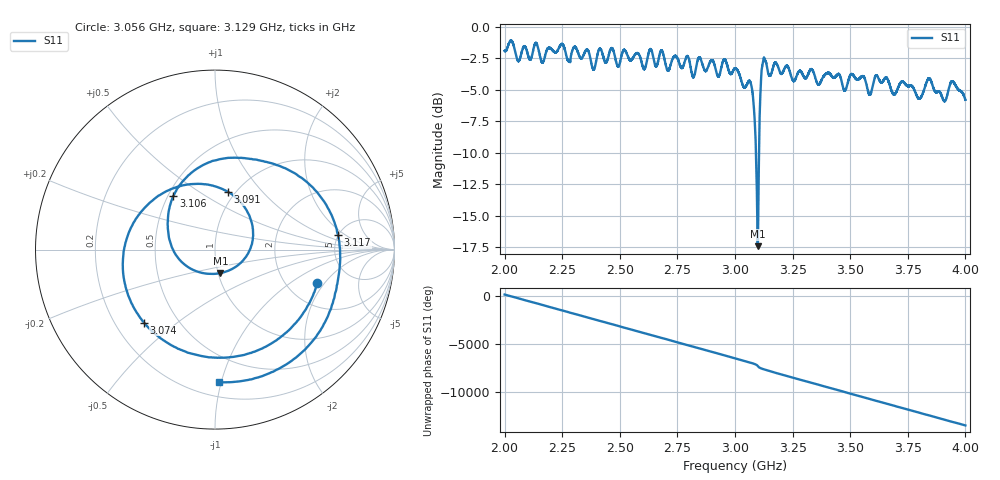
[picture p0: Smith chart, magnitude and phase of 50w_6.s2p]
!Agilent Technologies,E8362B,MY43021131,A.07.50.67
!Agilent E8362B: A.07.50.67
!Date: Thursday, March 14, 2024 14:49:31
!Correction: S11(Off)
!S21(Off)
!S12(Off)
!S22(Off)
!S2P File: Measurements: S11, S21, S12, S22:
# Hz S  RI  R 50
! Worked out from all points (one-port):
!   20001 points, 2 GHz to 4 GHz, reference 50 ohm
!   lowest |S11| = -17.4 dB at 3.099 GHz (marker M1), VSWR 1.31, Z = 51.3 - j13.7 ohm
!   |S11| at or under -10 dB: 3.091274 GHz to 3.104328 GHz (13.05 MHz wide, 0.421 % of centre)
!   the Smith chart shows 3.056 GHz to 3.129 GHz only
!   S11 on the Smith chart (normalised r, x): 3.056 GHz: 2.92, -1.69; 3.074 GHz: 0.32, -0.38; 3.091 GHz: 0.93, +0.67; 3.106 GHz: 0.53, +0.37; 3.117 GHz: 4.97, +1.52; 3.129 GHz: 0.30, -0.99
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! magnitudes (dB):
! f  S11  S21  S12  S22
! 2 GHz  -1.9  -  -  -
! 2.333 GHz  -2.5  -  -  -
! 2.667 GHz  -2.7  -  -  -
! 3 GHz  -3.3  -  -  -
! 3.056 GHz  -4.4  -  -  -
! 3.074 GHz  -4.9  -  -  -
! 3.083 GHz  -6.8  -  -  -
! 3.091 GHz  -9.6  -  -  -
! 3.099 GHz  -17.4  -  -  -
! 3.106 GHz  -8.4  -  -  -
! 3.117 GHz  -3.2  -  -  -
! 3.129 GHz  -2.6  -  -  -
! 3.333 GHz  -3.4  -  -  -
! 3.476 GHz  -5.1  -  -  -
! 3.554 GHz  -3.9  -  -  -
! 3.585 GHz  -5.4  -  -  -
! 3.667 GHz  -4.3  -  -  -
! 3.8 GHz  -5.7  -  -  -
! 3.843 GHz  -4.1  -  -  -
! 3.909 GHz  -5.9  -  -  -
! 3.945 GHz  -4.3  -  -  -
! 4 GHz  -5.8  -  -  -
